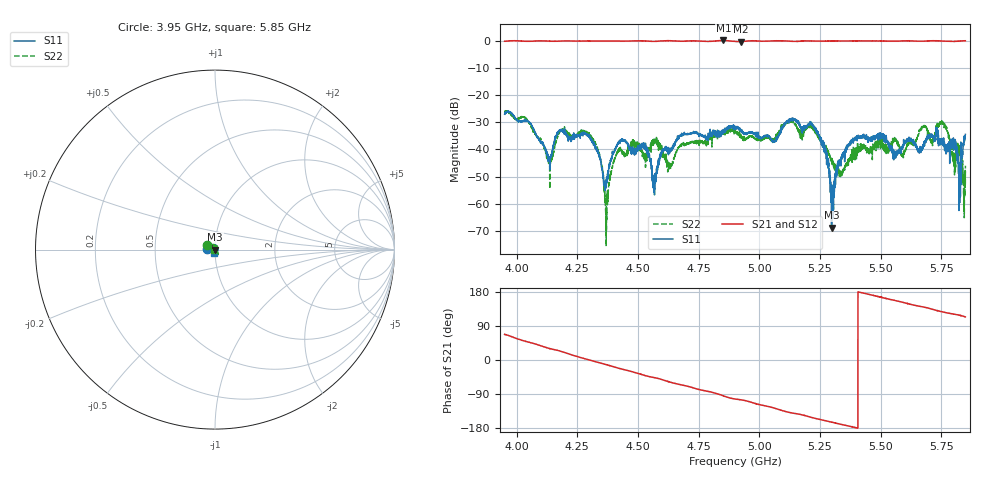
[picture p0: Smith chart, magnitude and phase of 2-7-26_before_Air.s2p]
# GHZ S RI R 50.000000000000
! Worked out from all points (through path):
!   4501 points, 3.95 GHz to 5.85 GHz, reference 50 ohm
!   highest |S21| = 0.12 dB at 4.852 GHz (marker M1); lowest = -0.3 dB at 4.924 GHz (marker M2)
!   group delay of S21, straight-line fit = 453 ps
!   lowest |S11| = -68.8 dB at 5.298 GHz (marker M3), VSWR 1.00, Z = 50 + j0.0253 ohm
!   |S11| at or under -10 dB: start of sweep to end of sweep
!   |S22| runs from -75.6 to -25.7 dB; largest |S21 - S12| = 0.043
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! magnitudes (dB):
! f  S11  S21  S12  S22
! 3.95 GHz  -27.1  -0.2  -0.2  -26.3
! 4.135 GHz  -44.0  -0.1  -0.1  -45.1
! 4.181 GHz  -33.0  -0.1  -0.1  -33.2
! 4.267 GHz  -34.8  -0.1  -0.1  -33.7
! 4.333 GHz  -40.3  -0.1  -0.1  -39.5
! 4.369 GHz  -52.4  -0.1  -0.1  -60.6
! 4.42 GHz  -37.8  -0.1  -0.1  -40.4
! 4.527 GHz  -39.3  -0.1  0.0  -42.7
! 4.566 GHz  -52.6  -0.2  -0.2  -37.0
! 4.584 GHz  -45.1  -0.1  -0.2  -37.2
! 4.632 GHz  -40.5  0.0  0.0  -45.7
! 4.852 GHz  -32.7  0.1  0.1  -34.4
! 4.9 GHz  -31.5  -0.2  -0.2  -33.1
! 4.924 GHz  -33.0  -0.3  -0.2  -35.8
! 5.217 GHz  -30.5  -0.1  0.0  -31.7
! 5.273 GHz  -40.6  -0.1  -0.1  -39.2
! 5.298 GHz  -68.8  -0.1  -0.1  -44.6
! 5.387 GHz  -36.2  0.0  0.0  -43.0
! 5.534 GHz  -37.5  -0.1  -0.1  -39.2
! 5.755 GHz  -36.3  -0.1  -0.1  -30.5
! 5.828 GHz  -53.2  -0.1  -0.1  -41.4
! 5.85 GHz  -34.5  0.0  0.1  -46.0
